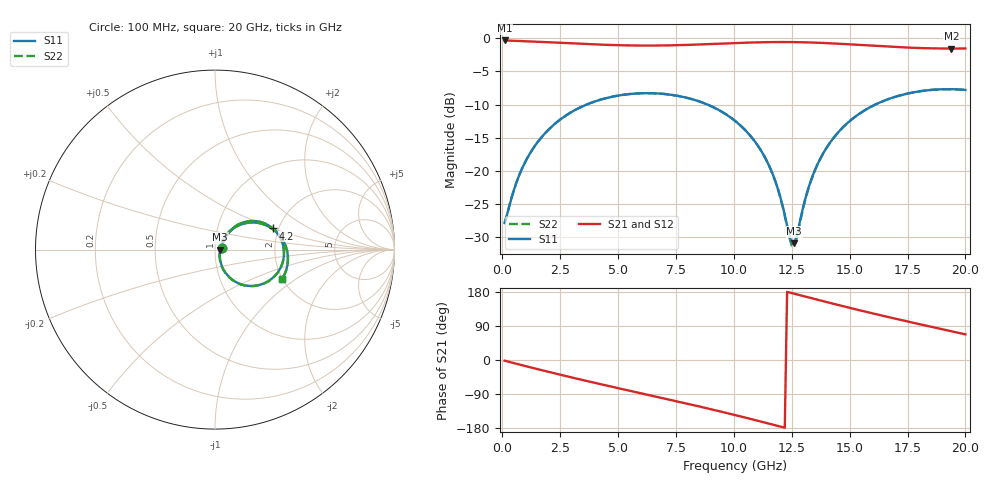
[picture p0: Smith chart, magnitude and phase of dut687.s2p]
! Touchstone file exported from HFSS 2026.1.0
!  File:  C:/ffzhzh/LocalFiles/Ansys_Project_Files/temp_train_TSV_RDL_687_1783134622_35180.aedt
!  Generated:  11:22:08 AM Jul  4, 2026
!  Design:  TSV_RDL
!  Project:  temp_train_TSV_RDL_687_1783134622_35180
! Variables:
!  h_bsmrdl = 2um
!  h_ox = 20um
!  h_rdl = 5um
!  h_sub = 74.17um
!  h_tmrdl = 3.07um
!  h_tsv = 74.17um
!  h_via = 3um
!  l_bsmrdl = 723.86um
!  l_sub = 4678.65um
!  l_tmrdl = 498.86um
!  m_sub = 200um
!  pitch = 33.76um
!  r_tsv = 11.83um
!  s_tmrdl = 10um
!  w_bsmrdl = 13.14um
!  w_sub = 500um
!  w_tmrdl = 24.07um
!  x_tsv_center1 = 510.895um
!  x_tsv_center2 = 1247.895um
!  x_tsv_center3 = 1770.825um
!  x_tsv_center4 = 2507.825um
!  x_tsv_center5 = 3030.755um
!  x_tsv_center6 = 3767.755um
# GHz S MA R 50.000000
! Terminal data exported
! Port[1] = TM_RDL1_1_T1
! Port[2] = TM_RDL5_1_T1
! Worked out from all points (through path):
!   200 points, 100 MHz to 20 GHz, reference 50 ohm
!   highest |S21| = -0.34 dB at 100 MHz (marker M1); lowest = -1.6 dB at 19.4 GHz (marker M2)
!   group delay of S21, straight-line fit = 40.8 ps
!   lowest |S11| = -30.9 dB at 12.6 GHz (marker M3), VSWR 1.06, Z = 52.9 + j0.0311 ohm
!   |S11| at or under -10 dB: start of sweep to 3.643 GHz; 8.859 GHz to 16.11 GHz (7.25 GHz wide, 58.1 % of centre)
!   |S22| runs from -31.3 to -7.7 dB; largest |S21 - S12| = 2.8e-14
!   S11 on the Smith chart (normalised r, x): 100 MHz: 1.08, +0.02; 4.2 GHz: 1.86, +0.50; 20 GHz: 1.99, -0.78
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0.1  0.04044 16.4  0.9615 -1.7  0.9615 -1.7  0.04044 16.4
! Gamma 0 0 0 0
! Port Impedance 50 0 50 0
0.7  0.09002 49.4  0.9529 -11.4  0.9529 -11.4  0.09002 49.4
1.3  0.1449 50.6  0.9437 -20.7  0.9437 -20.7  0.1449 50.6
2.3  0.2286 42.5  0.9269 -35.8  0.9269 -35.8  0.2287 42.5
3.5  0.3085 28.7  0.9057 -53.3  0.9057 -53.3  0.3086 28.7
4.2  0.3425 20.2  0.8949 -63.2  0.8949 -63.2  0.3426 20.1
5.5  0.3795 4.0  0.882 -81.1  0.882 -81.1  0.3796 3.9
6.8  0.3824 -12.3  0.8809 -98.9  0.8809 -98.9  0.3825 -12.4
8.5  0.3341 -33.9  0.8963 -122.5  0.8963 -122.5  0.3342 -34.1
10.1  0.2346 -54.2  0.9196 -146.0  0.9196 -146.0  0.2347 -54.5
10.9  0.1674 -63.1  0.9293 -158.2  0.9293 -158.2  0.1674 -63.6
11.5  0.1116 -67.2  0.934 -167.6  0.934 -167.6  0.1115 -67.9
12  0.06417 -63.4  0.9356 -175.5  0.9356 -175.5  0.06379 -64.5
12.5  0.02872 -18.9  0.9349 176.6  0.9349 176.6  0.02746 -19.9
12.6  0.02845 0.6  0.9344 175.0  0.9344 175.0  0.0271 0.6
13.4  0.09154 51.6  0.9273 162.3  0.9273 162.3  0.09096 52.3
14  0.1491 49.6  0.9184 153.0  0.9184 153.0  0.1487 50.0
14.7  0.2122 42.6  0.9051 142.2  0.9051 142.2  0.2119 42.9
16.7  0.349 17.7  0.863 112.9  0.863 112.9  0.3488 17.9
18  0.3974 1.3  0.8432 94.8  0.8432 94.8  0.3973 1.4
19.4  0.4128 -16.1  0.8354 75.8  0.8354 75.8  0.4127 -16.0
20  0.4075 -23.5  0.8367 67.5  0.8367 67.5  0.4074 -23.4
